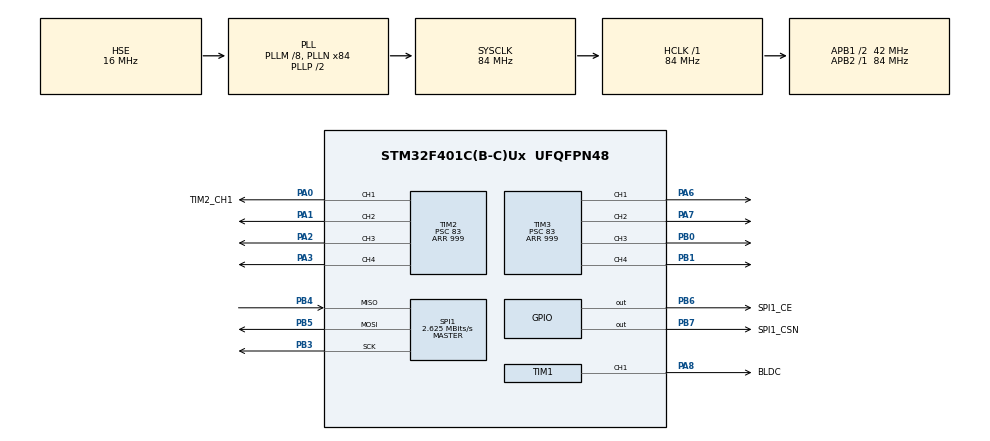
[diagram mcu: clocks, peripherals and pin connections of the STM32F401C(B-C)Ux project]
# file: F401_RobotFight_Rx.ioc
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Mcu.Family=STM32F4
Mcu.Name=STM32F401C(B-C)Ux
Mcu.Package=UFQFPN48
NVIC.PriorityGroup=NVIC_PRIORITYGROUP_4
PA0-WKUP.GPIO_Label=TIM2_CH1
PA0-WKUP.Signal=S_TIM2_CH1_ETR
PA1.Signal=S_TIM2_CH2
PA13.Mode=Serial_Wire
PA13.Signal=SYS_JTMS-SWDIO
PA14.Mode=Serial_Wire
PA14.Signal=SYS_JTCK-SWCLK
PA2.Signal=S_TIM2_CH3
PA3.Signal=S_TIM2_CH4
PA6.Signal=S_TIM3_CH1
PA7.Signal=S_TIM3_CH2
PA8.GPIO_Label=BLDC
PA8.Signal=S_TIM1_CH1
PB0.Signal=S_TIM3_CH3
PB1.Signal=S_TIM3_CH4
PB3.Mode=Full_Duplex_Master
PB3.Signal=SPI1_SCK
PB4.Mode=Full_Duplex_Master
PB4.Signal=SPI1_MISO
PB5.Mode=Full_Duplex_Master
PB5.Signal=SPI1_MOSI
PB6.GPIO_Label=SPI1_CE
PB6.Signal=GPIO_Output
PB7.GPIO_Label=SPI1_CSN
PB7.Signal=GPIO_Output
PH0\ -\ OSC_IN.Mode=HSE-External-Oscillator
PH0\ -\ OSC_IN.Signal=RCC_OSC_IN
PH1\ -\ OSC_OUT.Mode=HSE-External-Oscillator
PH1\ -\ OSC_OUT.Signal=RCC_OSC_OUT
ProjectManager.HeapSize=0x200
ProjectManager.StackSize=0x400
ProjectManager.TargetToolchain=STM32CubeIDE
RCC.48MHZClocksFreq_Value=42000000
RCC.AHBFreq_Value=84000000
RCC.APB1CLKDivider=RCC_HCLK_DIV2
RCC.APB1Freq_Value=42000000
RCC.APB1TimFreq_Value=84000000
RCC.APB2Freq_Value=84000000
RCC.APB2TimFreq_Value=84000000
RCC.CortexFreq_Value=84000000
RCC.HCLKFreq_Value=84000000
RCC.HSE_VALUE=16000000
RCC.HSI_VALUE=16000000
RCC.LSE_VALUE=32768
RCC.PLLM=8
RCC.PLLN=84
RCC.PLLSourceVirtual=RCC_PLLSOURCE_HSE
RCC.SYSCLKFreq_VALUE=84000000
RCC.SYSCLKSource=RCC_SYSCLKSOURCE_PLLCLK
RCC.VCOOutputFreq_Value=168000000
SH.S_TIM1_CH1.0=TIM1_CH1,PWM Generation1 CH1
SH.S_TIM2_CH1_ETR.0=TIM2_CH1,PWM Generation1 CH1
SH.S_TIM2_CH2.0=TIM2_CH2,PWM Generation2 CH2
SH.S_TIM2_CH3.0=TIM2_CH3,PWM Generation3 CH3
SH.S_TIM2_CH4.0=TIM2_CH4,PWM Generation4 CH4
SH.S_TIM3_CH1.0=TIM3_CH1,PWM Generation1 CH1
SH.S_TIM3_CH2.0=TIM3_CH2,PWM Generation2 CH2
SH.S_TIM3_CH3.0=TIM3_CH3,PWM Generation3 CH3
SH.S_TIM3_CH4.0=TIM3_CH4,PWM Generation4 CH4
SPI1.BaudRatePrescaler=SPI_BAUDRATEPRESCALER_32
SPI1.CalculateBaudRate=2.625 MBits/s
SPI1.DataSize=SPI_DATASIZE_8BIT
SPI1.Direction=SPI_DIRECTION_2LINES
SPI1.Mode=SPI_MODE_MASTER
SPI1.VirtualType=VM_MASTER
TIM1.AutoReloadPreload=TIM_AUTORELOAD_PRELOAD_ENABLE
TIM1.Channel-PWM\ Generation1\ CH1=TIM_CHANNEL_1
TIM1.Period=2000
TIM2.AutoReloadPreload=TIM_AUTORELOAD_PRELOAD_ENABLE
TIM2.Channel-PWM\ Generation1\ CH1=TIM_CHANNEL_1
TIM2.Channel-PWM\ Generation2\ CH2=TIM_CHANNEL_2
TIM2.Channel-PWM\ Generation3\ CH3=TIM_CHANNEL_3
TIM2.Channel-PWM\ Generation4\ CH4=TIM_CHANNEL_4
TIM2.Period=999
TIM2.Prescaler=83
TIM3.AutoReloadPreload=TIM_AUTORELOAD_PRELOAD_ENABLE
TIM3.Channel-PWM\ Generation1\ CH1=TIM_CHANNEL_1
TIM3.Channel-PWM\ Generation2\ CH2=TIM_CHANNEL_2
TIM3.Channel-PWM\ Generation3\ CH3=TIM_CHANNEL_3
TIM3.Channel-PWM\ Generation4\ CH4=TIM_CHANNEL_4
TIM3.Period=999
TIM3.Prescaler=83
VP_TIM1_VS_ClockSourceINT.Mode=Internal
board=custom

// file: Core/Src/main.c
/* USER CODE BEGIN Header */
/**
 ******************************************************************************
 * @file           : main.c
 * @brief          : Main program body
 ******************************************************************************
 * @attention
 *
 * Copyright (c) 2024 STMicroelectronics.
 * All rights reserved.
 *
 * This software is licensed under terms that can be found in the LICENSE file
 * in the root directory of this software component.
 * If no LICENSE file comes with this software, it is provided AS-IS.
 *
 ******************************************************************************
 */
/* USER CODE END Header */
#include "main.h"
#include "spi.h"
#include "tim.h"
#include "gpio.h"

/* USER CODE BEGIN Includes */

#include "NRF24L01.h"
#include "math.h"

/* USER CODE END Includes */

/* USER CODE BEGIN PM */

uint8_t Rxaddr[5] = {'I','T','C','0','1'};
uint8_t RxData[8];
uint32_t lastTime = 0;

float M1, M2, V;
float Vx, Vy, VX, VY, Omega;

//uint32_t last_time = 0;
//#define MAX_LED 8
//#define USE_BRIGHTNESS 0
//
//
//uint8_t LED_Data[MAX_LED][8];
//uint8_t LED_Mod[MAX_LED][8];  /* FOR BRIGHTNESS */
//uint16_t effStep = 0;
//uint32_t K[3] = {0, 4, 8};
//int GREEN[3] = {255, 0, 0};
//int BLUE[3] = {0, 255, 0};
//int RED[3] = {0, 0, 255};
//int L = 4, M = 8,z;
//int datasentflag=0;
//int RGB_Blue = 0;
//int RGB_Red = 255;
//int RGB_Green =0;
//int RGB_state = 0;
//int RGB_Brightness = 255;

/* USER CODE END PM */

void SystemClock_Config(void);
/* USER CODE BEGIN PFP */

//void HAL_TIM_PWM_PulseFinishedCallback(TIM_HandleTypeDef *htim)
//{
//	HAL_TIM_PWM_Stop_DMA(&htim1, TIM_CHANNEL_1);
//	datasentflag=1;
//}
//
//void Set_LED (int LEDnum, int Red, int Green, int Blue)
//{
//	LED_Data[LEDnum][0] = LEDnum;
//	LED_Data[LEDnum][1] = Green;
//	LED_Data[LEDnum][2] = Red;
//	LED_Data[LEDnum][3] = Blue;
//}
//
//#define PI 3.14159265
//
//void Set_Brightness (int brightness)  // 0-45
//{
//#if USE_BRIGHTNESS
//
//	if (brightness > 45) brightness = 45;
//	for (int i=0; i<MAX_LED; i++)
//	{
//		LED_Mod[i][0] = LED_Data[i][0];
//		for (int j=1; j<4; j++)
//		{
//			float angle = 90-brightness;  // in degrees
//			angle = angle*PI / 180;  // in rad
//			LED_Mod[i][j] = (LED_Data[i][j])/(tan(angle));
//		}
//	}
//
//#endif
//
//}
//
//uint16_t pwmData[(24*MAX_LED)+50];
//
//void WS2812_Send (void)
//{
//	uint32_t indx=0;
//	uint32_t color;
//
//
//	for (int i= 0; i<MAX_LED; i++)
//	{
//#if USE_BRIGHTNESS
//		color = ((LED_Mod[i][1]<<16) | (LED_Mod[i][2]<<8) | (LED_Mod[i][3]));
//#else
//		color = ((LED_Data[i][1]<<16) | (LED_Data[i][2]<<8) | (LED_Data[i][3]));
//#endif
//
//		for (int i=23; i>=0; i--)
//		{
//			if (color&(1<<i))
//			{
//				pwmData[indx] = 70;  // 2/3 of 105/70
//			}
//
//			else pwmData[indx] = 35;  // 1/3 of 105/37
//
//			indx++;
//		}
//
//	}
//
//	for (int i=0; i<50; i++)
//	{
//		pwmData[indx] = 0;
//		indx++;
//	}
//
//	HAL_TIM_PWM_Start_DMA(&htim1, TIM_CHANNEL_1, (uint32_t *)pwmData, indx);
//	while (!datasentflag){};
//	datasentflag = 0;
//}
//
//void Reset_LED (void)
//{
//	for (int i=0; i<MAX_LED; i++)
//	{
//		LED_Data[i][0] = i;
//		LED_Data[i][1] = 0;
//		LED_Data[i][2] = 0;
//		LED_Data[i][3] = 0;
//	}
//}

double map(double x, double in_min, double in_max, double out_min,
		double out_max) {
	return (x - in_min) * (out_max - out_min) / (in_max - in_min) + out_min;
}

void reset_data(void) {
	RxData[0] = 128; //x1
	RxData[1] = 128; //y1
	RxData[2] = 0; //x2
	RxData[3] = 128; //y2
	RxData[4] = 128; //y2
	RxData[5] = 128; //y2
	RxData[6] = 0; //y2
	RxData[7] = 0; //y2
}

//void RGB_Speed(){
//	  if(HAL_GetTick() - last_time >= map(RxData[0],0,255,20,250)){
//	  	last_time = HAL_GetTick();
//
//	  	for(int i = 0;i<=2; i++){
//			K[i]++;
//			if(K[i] == 12){
//				K[i]=0;
//				Set_LED(K[i], RED[i], GREEN[i], BLUE[i]);
//				Set_Brightness(0);
//				Set_LED(11, 0, 0, 0);
//
//				WS2812_Send();
//			}
//			if(K[i]>=1 && K[i]<=11){
//				Set_LED(K[i],RED[i], GREEN[i], BLUE[i]);
//				Set_LED(K[i]-1, 0, 0, 0);
//				WS2812_Send();
//			}
//	  	}
//
//	  }
//}

/* USER CODE END PFP */

int main(void)
{

  /* MCU Configuration--------------------------------------------------------*/

  /* Reset of all peripherals, Initializes the Flash interface and the Systick. */
  HAL_Init();

  /* Configure the system clock */
  SystemClock_Config();

  /* Initialize all configured peripherals */
  MX_GPIO_Init();
  MX_SPI1_Init();
  MX_TIM2_Init();
  MX_TIM1_Init();
  MX_TIM3_Init();
  /* USER CODE BEGIN 2 */

//		Reset_LED();

		NRF24_Init();
		NRF24_RxMode(Rxaddr, 112, 8); //NRF24_TxMode(Address, channel, payload_size)
		RxData[0] = 128; //x1
		RxData[1] = 128; //y1
		RxData[2] = 0; //x2
		RxData[3] = 128; //y2
		RxData[4] = 128; //y2
		RxData[5] = 128; //y2
		RxData[6] = 0; //y2
		RxData[7] = 0; //y2

	/* TIMER WHEEL */

		HAL_TIM_PWM_Start(&htim2, TIM_CHANNEL_1);
		HAL_TIM_PWM_Start(&htim2, TIM_CHANNEL_2);
		HAL_TIM_PWM_Start(&htim2, TIM_CHANNEL_3);
		HAL_TIM_PWM_Start(&htim2, TIM_CHANNEL_4);

	/* TIMER SHORTER */

		HAL_TIM_PWM_Start(&htim3, TIM_CHANNEL_1);
		HAL_TIM_PWM_Start(&htim3, TIM_CHANNEL_2);
		HAL_TIM_PWM_Start(&htim3, TIM_CHANNEL_3);
		HAL_TIM_PWM_Start(&htim3, TIM_CHANNEL_4);

	/* TIMER BLDC */

		HAL_TIM_PWM_Start(&htim1, TIM_CHANNEL_1);

  /* USER CODE END 2 */

  /* Infinite loop */
	while (1) {

    /* USER CODE BEGIN 3 */

		if (DataReady(1) > 0) {
			NRF24_Receive(RxData, 8);
			lastTime = HAL_GetTick();
		}
		if ((HAL_GetTick() - lastTime > 10)) {
			reset_data();
		}

		/* MAPPING */

			Vx 	  = map(RxData[0], 0, 256, -999, 999);
			Omega = map(RxData[1], 0, 256, -999, 999);
			VX    = map(RxData[3], 0, 256, 1000, 2000);
			VY    = map(RxData[2], 0, 256, -999, 999);

		/* SPEED MOTOR */

			M1 = (Vx + Omega);
			M2 = (Vx - Omega);

		/* SPEED MOTOR */

			if (M1 > 999){
				M1 = 999;
			}
			if (M1 < -999){
				M1 = -999;
			}
			if (M1 < 999 && M1 > -999){
				M1 = M1;
			}

			if (M2 > 999){
				M2 = 999;
			}
			if (M2 < -999){
				M2 = -999;
			}
			if (M2 < 999 && M2 > -999){
				M2 = M2;
			}

		/* MOTOR1 */

			if (M1 > 0 && M1 <= 999){
				TIM2->CCR1 = M1;
				TIM2->CCR2 = 0;
			}
			if (M1 == 0){
				TIM2->CCR1 = 0;
				TIM2->CCR2 = 0;
			}
			if (M1 < 0 && M1 >= -999){
				TIM2->CCR1 = 0;
				TIM2->CCR2 = (-1) *M1;
			}

		/* MOTOR2 */

			if (M2 > 0 && M2 <= 999){
				TIM2->CCR3 = M2;
				TIM2->CCR4 = 0;
			}
			if (M2 == 0){
				TIM2->CCR3 = 0;
				TIM2->CCR4 = 0;
			}
			if (M2 < 0 && M2 >= -999){
				TIM2->CCR3 = 0;
				TIM2->CCR4 = (-1) *M2;
			}

		/* SHORTER */

			TIM3->CCR1 = VY;
			TIM3->CCR2 = 0;

		/* BLDC */

			TIM1->CCR1 = VX;

//
//		TIM2->CCR1 = 999;
//		TIM2->CCR2 = 0;
//		TIM2->CCR3 = 999;
//		TIM2->CCR4 = 0;
//
//		  /* RGB */
//
//		  if(HAL_GetTick() - last_time >= 30 ){
//		  	last_time = HAL_GetTick();
//
//		  	if (RGB_state == 0){
//			  	RGB_Red = RGB_Brightness;
//			  	RGB_Green ++;
//			  	RGB_Blue = 0;
//			  	if(RGB_Green >= RGB_Brightness){
//			  		RGB_state = 1;
//			  	}
//		  	}
//		  	else if (RGB_state == 1){
//			  	RGB_Red --;
//			  	RGB_Green = RGB_Brightness;
//			  	RGB_Blue = 0;
//			  	if(RGB_Red <= 0){
//			  		RGB_state = 2;
//			  	}
//		  	}
//		  	else if (RGB_state == 2){
//			  	RGB_Red = 0;
//			  	RGB_Green = RGB_Brightness;
//			  	RGB_Blue ++;
//			  	if(RGB_Blue >= RGB_Brightness){
//			  		RGB_state = 3;
//			  	}
//		  	}
//		  	else if (RGB_state == 3){
//			  	RGB_Red = 0;
//			  	RGB_Green --;
//			  	RGB_Blue = RGB_Brightness;
//			  	if(RGB_Green <= 0){
//			  		RGB_state = 4;
//			  	}
//		  	}
//		  	else if (RGB_state == 4){
//			  	RGB_Red ++;
//			  	RGB_Green = 0;
//			  	RGB_Blue = RGB_Brightness;
//			  	if(RGB_Red >= RGB_Brightness){
//			  		RGB_state = 5;
//			  	}	  	}
//		  	else if (RGB_state == 5){
//			  	RGB_Red = RGB_Brightness;
//			  	RGB_Green = 0;
//			  	RGB_Blue --;
//			  	if(RGB_Blue <= 0){
//			  		RGB_state = 0;
//			  	}	  	}
//
//		  	else{
//
//		  	}
//
//		  }
//			Set_LED(0, RGB_Red, RGB_Green, RGB_Blue);
//			Set_LED(1, RGB_Red, RGB_Green, RGB_Blue);
//			Set_LED(2, RGB_Red, RGB_Green, RGB_Blue);
//			Set_LED(3, RGB_Red, RGB_Green, RGB_Blue);
//			Set_LED(4, RGB_Red, RGB_Green, RGB_Blue);
//			Set_LED(5, RGB_Red, RGB_Green, RGB_Blue);
//			Set_LED(6, RGB_Red, RGB_Green, RGB_Blue);
//			Set_LED(7, RGB_Red, RGB_Green, RGB_Blue);
//			WS2812_Send();
//

	}
  /* USER CODE END 3 */
}

void SystemClock_Config(void)
{
  RCC_OscInitTypeDef RCC_OscInitStruct = {0};
  RCC_ClkInitTypeDef RCC_ClkInitStruct = {0};

  /** Configure the main internal regulator output voltage
  */
  __HAL_RCC_PWR_CLK_ENABLE();
  __HAL_PWR_VOLTAGESCALING_CONFIG(PWR_REGULATOR_VOLTAGE_SCALE2);

  /** Initializes the RCC Oscillators according to the specified parameters
  * in the RCC_OscInitTypeDef structure.
  */
  RCC_OscInitStruct.OscillatorType = RCC_OSCILLATORTYPE_HSE;
  RCC_OscInitStruct.HSEState = RCC_HSE_ON;
  RCC_OscInitStruct.PLL.PLLState = RCC_PLL_ON;
  RCC_OscInitStruct.PLL.PLLSource = RCC_PLLSOURCE_HSE;
  RCC_OscInitStruct.PLL.PLLM = 8;
  RCC_OscInitStruct.PLL.PLLN = 84;
  RCC_OscInitStruct.PLL.PLLP = RCC_PLLP_DIV2;
  RCC_OscInitStruct.PLL.PLLQ = 4;
  if (HAL_RCC_OscConfig(&RCC_OscInitStruct) != HAL_OK)
  {
    Error_Handler();
  }

  /** Initializes the CPU, AHB and APB buses clocks
  */
  RCC_ClkInitStruct.ClockType = RCC_CLOCKTYPE_HCLK|RCC_CLOCKTYPE_SYSCLK
                              |RCC_CLOCKTYPE_PCLK1|RCC_CLOCKTYPE_PCLK2;
  RCC_ClkInitStruct.SYSCLKSource = RCC_SYSCLKSOURCE_PLLCLK;
  RCC_ClkInitStruct.AHBCLKDivider = RCC_SYSCLK_DIV1;
  RCC_ClkInitStruct.APB1CLKDivider = RCC_HCLK_DIV2;
  RCC_ClkInitStruct.APB2CLKDivider = RCC_HCLK_DIV1;

  if (HAL_RCC_ClockConfig(&RCC_ClkInitStruct, FLASH_LATENCY_2) != HAL_OK)
  {
    Error_Handler();
  }
}

void Error_Handler(void)
{
	__disable_irq();
	while (1) {
	}
}
